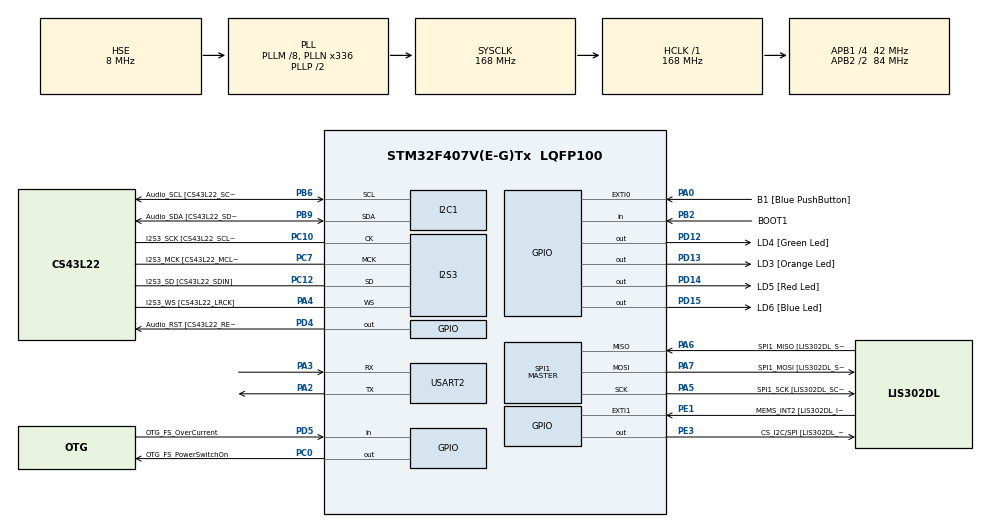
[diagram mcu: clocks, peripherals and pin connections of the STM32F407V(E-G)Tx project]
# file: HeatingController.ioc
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FREERTOS.Mutexes01=controllerStatusMutex,Dynamic,NULL,Available
FREERTOS.Queues01=temperatureQueue,4,uint32_t,0,Dynamic,NULL,NULL
FREERTOS.Tasks01=controlTask,24,128,StartControlTask,Default,NULL,Dynamic,NULL,NULL;sensorTask,24,128,StartSensorTask,Default,NULL,Dynamic,NULL,NULL;statusTask,24,128,StartStatusTask,Default,NULL,Dynamic,NULL,NULL
I2S3.AudioFreq-Half_Duplex_Master=I2S_AUDIOFREQ_96K
I2S3.ErrorAudioFreq=-2.34 %
I2S3.ErrorAudioFreq-Half_Duplex_Master=0.8 %
I2S3.FullDuplexMode=I2S_FULLDUPLEXMODE_DISABLE
I2S3.Instance=SPI$Index
I2S3.RealAudioFreq=93.75 KHz
I2S3.RealAudioFreq-Half_Duplex_Master=96.774 KHz
I2S3.VirtualMode=I2S_MODE_MASTER
Mcu.Family=STM32F4
Mcu.Name=STM32F407V(E-G)Tx
Mcu.Package=LQFP100
NVIC.PriorityGroup=NVIC_PRIORITYGROUP_4
PA0-WKUP.GPIO_Label=B1 [Blue PushButton]
PA0-WKUP.GPIO_ModeDefaultEXTI=GPIO_MODE_EVT_RISING
PA0-WKUP.GPIO_PuPd=GPIO_NOPULL
PA0-WKUP.Signal=GPXTI0
PA10.GPIO_Label=OTG_FS_ID
PA10.GPIO_Mode=GPIO_MODE_AF_PP
PA10.GPIO_PuPd=GPIO_NOPULL
PA10.GPIO_Speed=GPIO_SPEED_FREQ_LOW
PA10.Signal=USB_OTG_FS_ID
PA11.GPIO_Label=OTG_FS_DM
PA11.GPIO_Mode=GPIO_MODE_AF_PP
PA11.GPIO_PuPd=GPIO_NOPULL
PA11.GPIO_Speed=GPIO_SPEED_FREQ_LOW
PA11.Signal=USB_OTG_FS_DM
PA12.GPIO_Label=OTG_FS_DP
PA12.GPIO_Mode=GPIO_MODE_AF_PP
PA12.GPIO_PuPd=GPIO_NOPULL
PA12.GPIO_Speed=GPIO_SPEED_FREQ_LOW
PA12.Signal=USB_OTG_FS_DP
PA13.GPIO_Label=SWDIO
PA13.Mode=Serial_Wire
PA13.Signal=SYS_JTMS-SWDIO
PA14.GPIO_Label=SWCLK
PA14.Mode=Serial_Wire
PA14.Signal=SYS_JTCK-SWCLK
PA2.Mode=Asynchronous
PA2.Signal=USART2_TX
PA3.Mode=Asynchronous
PA3.Signal=USART2_RX
PA4.GPIO_Label=I2S3_WS [CS43L22_LRCK]
PA4.GPIO_Mode=GPIO_MODE_AF_PP
PA4.GPIO_PuPd=GPIO_NOPULL
PA4.GPIO_Speed=GPIO_SPEED_FREQ_LOW
PA4.Mode=Half_Duplex_Master
PA4.Signal=I2S3_WS
PA5.GPIO_Label=SPI1_SCK [LIS302DL_SCL/SPC]
PA5.GPIO_Mode=GPIO_MODE_AF_PP
PA5.GPIO_PuPd=GPIO_NOPULL
PA5.GPIO_Speed=GPIO_SPEED_FREQ_LOW
PA5.Mode=Full_Duplex_Master
PA5.Signal=SPI1_SCK
PA6.GPIO_Label=SPI1_MISO [LIS302DL_SDO]
PA6.GPIO_Mode=GPIO_MODE_AF_PP
PA6.GPIO_PuPd=GPIO_NOPULL
PA6.GPIO_Speed=GPIO_SPEED_FREQ_LOW
PA6.Mode=Full_Duplex_Master
PA6.Signal=SPI1_MISO
PA7.GPIO_Label=SPI1_MOSI [LIS302DL_SDA/SDI/SDO]
PA7.GPIO_Mode=GPIO_MODE_AF_PP
PA7.GPIO_PuPd=GPIO_NOPULL
PA7.GPIO_Speed=GPIO_SPEED_FREQ_LOW
PA7.Mode=Full_Duplex_Master
PA7.Signal=SPI1_MOSI
PA9.GPIO_Label=VBUS_FS
PA9.GPIO_Mode=GPIO_MODE_INPUT
PA9.GPIO_PuPd=GPIO_NOPULL
PA9.Signal=USB_OTG_FS_VBUS
PB10.GPIO_Label=CLK_IN [MP45DT02_CLK]
PB10.GPIO_Mode=GPIO_MODE_AF_PP
PB10.GPIO_PuPd=GPIO_NOPULL
PB10.GPIO_Speed=GPIO_SPEED_FREQ_LOW
PB10.Signal=I2S2_CK
PB2.GPIO_Label=BOOT1
PB2.GPIO_Mode=GPIO_MODE_INPUT
PB2.GPIO_PuPd=GPIO_NOPULL
PB2.Signal=GPIO_Input
PB3.GPIO_Label=SWO
PB3.Signal=SYS_JTDO-SWO
PB6.GPIO_Label=Audio_SCL [CS43L22_SCL]
PB6.GPIO_Mode=GPIO_MODE_AF_OD
PB6.GPIO_Pu=GPIO_PULLUP
PB6.GPIO_PuPd=GPIO_NOPULL
PB6.GPIO_Speed=GPIO_SPEED_FREQ_LOW
PB6.Mode=I2C
PB6.Signal=I2C1_SCL
PB9.GPIO_Label=Audio_SDA [CS43L22_SDA]
PB9.GPIO_Mode=GPIO_MODE_AF_OD
PB9.GPIO_Pu=GPIO_PULLUP
PB9.GPIO_PuPd=GPIO_NOPULL
PB9.GPIO_Speed=GPIO_SPEED_FREQ_LOW
PB9.Mode=I2C
PB9.Signal=I2C1_SDA
PC0.GPIO_Label=OTG_FS_PowerSwitchOn
PC0.GPIO_PuPd=GPIO_NOPULL
PC0.GPIO_Speed=GPIO_SPEED_FREQ_LOW
PC0.PinState=GPIO_PIN_SET
PC0.Signal=GPIO_Output
PC10.GPIO_Label=I2S3_SCK [CS43L22_SCLK]
PC10.GPIO_Mode=GPIO_MODE_AF_PP
PC10.GPIO_PuPd=GPIO_NOPULL
PC10.GPIO_Speed=GPIO_SPEED_FREQ_LOW
PC10.Mode=Half_Duplex_Master
PC10.Signal=I2S3_CK
PC12.GPIO_Label=I2S3_SD [CS43L22_SDIN]
PC12.GPIO_Mode=GPIO_MODE_AF_PP
PC12.GPIO_PuPd=GPIO_NOPULL
PC12.GPIO_Speed=GPIO_SPEED_FREQ_LOW
PC12.Mode=Half_Duplex_Master
PC12.Signal=I2S3_SD
PC14-OSC32_IN.GPIO_Label=PC14-OSC32_IN
PC14-OSC32_IN.Mode=LSE-External-Oscillator
PC14-OSC32_IN.Signal=RCC_OSC32_IN
PC15-OSC32_OUT.GPIO_Label=PC15-OSC32_OUT
PC15-OSC32_OUT.Mode=LSE-External-Oscillator
PC15-OSC32_OUT.Signal=RCC_OSC32_OUT
PC3.GPIO_Label=PDM_OUT [MP45DT02_DOUT]
PC3.GPIO_Mode=GPIO_MODE_AF_PP
PC3.GPIO_PuPd=GPIO_NOPULL
PC3.GPIO_Speed=GPIO_SPEED_FREQ_LOW
PC3.Signal=I2S2_SD
PC7.GPIO_Label=I2S3_MCK [CS43L22_MCLK]
PC7.GPIO_Mode=GPIO_MODE_AF_PP
PC7.GPIO_PuPd=GPIO_NOPULL
PC7.GPIO_Speed=GPIO_SPEED_FREQ_LOW
PC7.Mode=Master_Clock_Activated
PC7.Signal=I2S3_MCK
PD12.GPIO_Label=LD4 [Green Led]
PD12.GPIO_PuPd=GPIO_NOPULL
PD12.GPIO_Speed=GPIO_SPEED_FREQ_LOW
PD12.Signal=GPIO_Output
PD13.GPIO_Label=LD3 [Orange Led]
PD13.GPIO_PuPd=GPIO_NOPULL
PD13.GPIO_Speed=GPIO_SPEED_FREQ_LOW
PD13.Signal=GPIO_Output
PD14.GPIO_Label=LD5 [Red Led]
PD14.GPIO_PuPd=GPIO_NOPULL
PD14.GPIO_Speed=GPIO_SPEED_FREQ_LOW
PD14.Signal=GPIO_Output
PD15.GPIO_Label=LD6 [Blue Led]
PD15.GPIO_PuPd=GPIO_NOPULL
PD15.GPIO_Speed=GPIO_SPEED_FREQ_LOW
PD15.Signal=GPIO_Output
PD4.GPIO_Label=Audio_RST [CS43L22_RESET]
PD4.GPIO_PuPd=GPIO_NOPULL
PD4.GPIO_Speed=GPIO_SPEED_FREQ_LOW
PD4.Signal=GPIO_Output
PD5.GPIO_Label=OTG_FS_OverCurrent
PD5.GPIO_Mode=GPIO_MODE_INPUT
PD5.GPIO_PuPd=GPIO_NOPULL
PD5.Signal=GPIO_Input
PE1.GPIO_Label=MEMS_INT2 [LIS302DL_INT2]
PE1.GPIO_ModeDefaultEXTI=GPIO_MODE_EVT_RISING
PE1.GPIO_PuPd=GPIO_NOPULL
PE1.Signal=GPXTI1
PE3.GPIO_Label=CS_I2C/SPI [LIS302DL_CS_I2C/SPI]
PE3.GPIO_PuPd=GPIO_NOPULL
PE3.GPIO_Speed=GPIO_SPEED_FREQ_LOW
PE3.Signal=GPIO_Output
PH0-OSC_IN.GPIO_Label=PH0-OSC_IN
PH0-OSC_IN.Mode=HSE-External-Oscillator
PH0-OSC_IN.Signal=RCC_OSC_IN
PH1-OSC_OUT.GPIO_Label=PH1-OSC_OUT
PH1-OSC_OUT.Mode=HSE-External-Oscillator
PH1-OSC_OUT.Signal=RCC_OSC_OUT
ProjectManager.HeapSize=0x200
ProjectManager.StackSize=0x400
ProjectManager.TargetToolchain=CMake
RCC.48MHZClocksFreq_Value=48000000
RCC.AHBFreq_Value=168000000
RCC.APB1CLKDivider=RCC_HCLK_DIV4
RCC.APB1Freq_Value=42000000
RCC.APB1TimFreq_Value=84000000
RCC.APB2CLKDivider=RCC_HCLK_DIV2
RCC.APB2Freq_Value=84000000
RCC.APB2TimFreq_Value=168000000
RCC.CortexFreq_Value=168000000
RCC.HCLKFreq_Value=168000000
RCC.HSE_VALUE=8000000
RCC.HSI_VALUE=16000000
RCC.PLLM=8
RCC.PLLN=336
RCC.PLLQ=7
RCC.PLLSourceVirtual=RCC_PLLSOURCE_HSE
RCC.SYSCLKFreq_VALUE=168000000
RCC.SYSCLKSource=RCC_SYSCLKSOURCE_PLLCLK
RCC.VCOOutputFreq_Value=336000000
SPI1.BaudRatePrescaler-Full_Duplex_Master=SPI_BAUDRATEPRESCALER_2
SPI1.CalculateBaudRate-Full_Duplex_Master=42.0 MBits/s
SPI1.Direction=SPI_DIRECTION_2LINES
SPI1.Mode=SPI_MODE_MASTER
SPI1.Mode-Full_Duplex_Master=SPI_MODE_MASTER
SPI1.VirtualType=VM_MASTER
USART2.VirtualMode=VM_ASYNC
VP_FREERTOS_VS_CMSIS_V2.Mode=CMSIS_V2
board=STM32F407G-DISC1

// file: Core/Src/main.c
/* USER CODE BEGIN Header */
/**
  ******************************************************************************
  * @file           : main.c
  * @brief          : Main program body
  ******************************************************************************
  * @attention
  *
  * Copyright (c) 2026 STMicroelectronics.
  * All rights reserved.
  *
  * This software is licensed under terms that can be found in the LICENSE file
  * in the root directory of this software component.
  * If no LICENSE file comes with this software, it is provided AS-IS.
  *
  ******************************************************************************
  */
/* USER CODE END Header */
#include "main.h"

#include "cmsis_os.h"

/* USER CODE BEGIN Includes */
#include <stdio.h>
/* USER CODE END Includes */

I2C_HandleTypeDef hi2c1;

I2S_HandleTypeDef hi2s3;

SPI_HandleTypeDef hspi1;

UART_HandleTypeDef huart2;

/* Definitions for controlTask */
osThreadId_t controlTaskHandle;
const osThreadAttr_t controlTask_attributes = {
  .name = "controlTask",
  .stack_size = 128 * 4,
  .priority = (osPriority_t) osPriorityNormal,
};
/* Definitions for sensorTask */
osThreadId_t sensorTaskHandle;
const osThreadAttr_t sensorTask_attributes = {
  .name = "sensorTask",
  .stack_size = 128 * 4,
  .priority = (osPriority_t) osPriorityNormal,
};
/* Definitions for statusTask */
osThreadId_t statusTaskHandle;
const osThreadAttr_t statusTask_attributes = {
  .name = "statusTask",
  .stack_size = 128 * 4,
  .priority = (osPriority_t) osPriorityNormal,
};
/* Definitions for temperatureQueue */
osMessageQueueId_t temperatureQueueHandle;
const osMessageQueueAttr_t temperatureQueue_attributes = {
  .name = "temperatureQueue"
};
/* Definitions for controllerStatusMutex */
osMutexId_t controllerStatusMutexHandle;
const osMutexAttr_t controllerStatusMutex_attributes = {
  .name = "controllerStatusMutex"
};

void SystemClock_Config(void);
static void MX_GPIO_Init(void);
static void MX_I2C1_Init(void);
static void MX_I2S3_Init(void);
static void MX_SPI1_Init(void);
static void MX_USART2_UART_Init(void);
void StartControlTask(void *argument);
void StartSensorTask(void *argument);
void StartStatusTask(void *argument);

/* USER CODE BEGIN 0 */

enum eHeaterState : uint8_t
{
  ENUM_HEATER_STATE_OFF,
  ENUM_HEATER_STATE_ONE, // one heating component
  ENUM_HEATER_STATE_TWO, // two heating components
  ENUM_HEATER_STATE_THREE // ...
};

enum ePumpState : uint8_t
{
  ENUM_PUMP_STATE_OFF,
  ENUM_PUMP_STATE_ON
};

static struct ControllerStatus
{
  long currentTemperature;
  long targetTemperature;
  enum eHeaterState heaterState;
  enum ePumpState pumpState;
} g_ControllerStatus = {
  .currentTemperature = 0,
  .targetTemperature = 70,
  .heaterState = ENUM_HEATER_STATE_OFF,
  .pumpState = ENUM_PUMP_STATE_OFF
};

/* USER CODE END 0 */

int main(void)
{

  /* MCU Configuration--------------------------------------------------------*/

  /* Reset of all peripherals, Initializes the Flash interface and the Systick. */
  HAL_Init();

  /* Configure the system clock */
  SystemClock_Config();

  /* Initialize all configured peripherals */
  MX_GPIO_Init();
  MX_I2C1_Init();
  MX_I2S3_Init();
  MX_SPI1_Init();
  MX_USART2_UART_Init();

  /* Init scheduler */
  osKernelInitialize();
  /* Create the mutex(es) */
  /* creation of controllerStatusMutex */
  controllerStatusMutexHandle = osMutexNew(&controllerStatusMutex_attributes);

  /* Create the queue(s) */
  /* creation of temperatureQueue */
  temperatureQueueHandle = osMessageQueueNew (4, sizeof(uint32_t), &temperatureQueue_attributes);

  /* Create the thread(s) */
  /* creation of controlTask */
  controlTaskHandle = osThreadNew(StartControlTask, NULL, &controlTask_attributes);

  /* creation of sensorTask */
  sensorTaskHandle = osThreadNew(StartSensorTask, NULL, &sensorTask_attributes);

  /* creation of statusTask */
  statusTaskHandle = osThreadNew(StartStatusTask, NULL, &statusTask_attributes);

  /* Start scheduler */
  osKernelStart();

  /* We should never get here as control is now taken by the scheduler */

  /* Infinite loop */
  while (1)
  {

  }
}

void SystemClock_Config(void)
{
  RCC_OscInitTypeDef RCC_OscInitStruct = {0};
  RCC_ClkInitTypeDef RCC_ClkInitStruct = {0};

  /** Configure the main internal regulator output voltage
  */
  __HAL_RCC_PWR_CLK_ENABLE();
  __HAL_PWR_VOLTAGESCALING_CONFIG(PWR_REGULATOR_VOLTAGE_SCALE1);

  /** Initializes the RCC Oscillators according to the specified parameters
  * in the RCC_OscInitTypeDef structure.
  */
  RCC_OscInitStruct.OscillatorType = RCC_OSCILLATORTYPE_HSE;
  RCC_OscInitStruct.HSEState = RCC_HSE_ON;
  RCC_OscInitStruct.PLL.PLLState = RCC_PLL_ON;
  RCC_OscInitStruct.PLL.PLLSource = RCC_PLLSOURCE_HSE;
  RCC_OscInitStruct.PLL.PLLM = 8;
  RCC_OscInitStruct.PLL.PLLN = 336;
  RCC_OscInitStruct.PLL.PLLP = RCC_PLLP_DIV2;
  RCC_OscInitStruct.PLL.PLLQ = 7;
  if (HAL_RCC_OscConfig(&RCC_OscInitStruct) != HAL_OK)
  {
    Error_Handler();
  }

  /** Initializes the CPU, AHB and APB buses clocks
  */
  RCC_ClkInitStruct.ClockType = RCC_CLOCKTYPE_HCLK|RCC_CLOCKTYPE_SYSCLK
                              |RCC_CLOCKTYPE_PCLK1|RCC_CLOCKTYPE_PCLK2;
  RCC_ClkInitStruct.SYSCLKSource = RCC_SYSCLKSOURCE_PLLCLK;
  RCC_ClkInitStruct.AHBCLKDivider = RCC_SYSCLK_DIV1;
  RCC_ClkInitStruct.APB1CLKDivider = RCC_HCLK_DIV4;
  RCC_ClkInitStruct.APB2CLKDivider = RCC_HCLK_DIV2;

  if (HAL_RCC_ClockConfig(&RCC_ClkInitStruct, FLASH_LATENCY_5) != HAL_OK)
  {
    Error_Handler();
  }
}

static void MX_I2C1_Init(void)
{

  hi2c1.Instance = I2C1;
  hi2c1.Init.ClockSpeed = 100000;
  hi2c1.Init.DutyCycle = I2C_DUTYCYCLE_2;
  hi2c1.Init.OwnAddress1 = 0;
  hi2c1.Init.AddressingMode = I2C_ADDRESSINGMODE_7BIT;
  hi2c1.Init.DualAddressMode = I2C_DUALADDRESS_DISABLE;
  hi2c1.Init.OwnAddress2 = 0;
  hi2c1.Init.GeneralCallMode = I2C_GENERALCALL_DISABLE;
  hi2c1.Init.NoStretchMode = I2C_NOSTRETCH_DISABLE;
  if (HAL_I2C_Init(&hi2c1) != HAL_OK)
  {
    Error_Handler();
  }

}

static void MX_I2S3_Init(void)
{

  hi2s3.Instance = SPI3;
  hi2s3.Init.Mode = I2S_MODE_MASTER_TX;
  hi2s3.Init.Standard = I2S_STANDARD_PHILIPS;
  hi2s3.Init.DataFormat = I2S_DATAFORMAT_16B;
  hi2s3.Init.MCLKOutput = I2S_MCLKOUTPUT_ENABLE;
  hi2s3.Init.AudioFreq = I2S_AUDIOFREQ_96K;
  hi2s3.Init.CPOL = I2S_CPOL_LOW;
  hi2s3.Init.ClockSource = I2S_CLOCK_PLL;
  hi2s3.Init.FullDuplexMode = I2S_FULLDUPLEXMODE_DISABLE;
  if (HAL_I2S_Init(&hi2s3) != HAL_OK)
  {
    Error_Handler();
  }

}

static void MX_SPI1_Init(void)
{

  /* SPI1 parameter configuration*/
  hspi1.Instance = SPI1;
  hspi1.Init.Mode = SPI_MODE_MASTER;
  hspi1.Init.Direction = SPI_DIRECTION_2LINES;
  hspi1.Init.DataSize = SPI_DATASIZE_8BIT;
  hspi1.Init.CLKPolarity = SPI_POLARITY_LOW;
  hspi1.Init.CLKPhase = SPI_PHASE_1EDGE;
  hspi1.Init.NSS = SPI_NSS_SOFT;
  hspi1.Init.BaudRatePrescaler = SPI_BAUDRATEPRESCALER_2;
  hspi1.Init.FirstBit = SPI_FIRSTBIT_MSB;
  hspi1.Init.TIMode = SPI_TIMODE_DISABLE;
  hspi1.Init.CRCCalculation = SPI_CRCCALCULATION_DISABLE;
  hspi1.Init.CRCPolynomial = 10;
  if (HAL_SPI_Init(&hspi1) != HAL_OK)
  {
    Error_Handler();
  }

}

static void MX_USART2_UART_Init(void)
{

  huart2.Instance = USART2;
  huart2.Init.BaudRate = 115200;
  huart2.Init.WordLength = UART_WORDLENGTH_8B;
  huart2.Init.StopBits = UART_STOPBITS_1;
  huart2.Init.Parity = UART_PARITY_NONE;
  huart2.Init.Mode = UART_MODE_TX_RX;
  huart2.Init.HwFlowCtl = UART_HWCONTROL_NONE;
  huart2.Init.OverSampling = UART_OVERSAMPLING_16;
  if (HAL_UART_Init(&huart2) != HAL_OK)
  {
    Error_Handler();
  }

}

static void MX_GPIO_Init(void)
{
  GPIO_InitTypeDef GPIO_InitStruct = {0};

  /* GPIO Ports Clock Enable */
  __HAL_RCC_GPIOE_CLK_ENABLE();
  __HAL_RCC_GPIOC_CLK_ENABLE();
  __HAL_RCC_GPIOH_CLK_ENABLE();
  __HAL_RCC_GPIOA_CLK_ENABLE();
  __HAL_RCC_GPIOB_CLK_ENABLE();
  __HAL_RCC_GPIOD_CLK_ENABLE();

  /*Configure GPIO pin Output Level */
  HAL_GPIO_WritePin(CS_I2C_SPI_GPIO_Port, CS_I2C_SPI_Pin, GPIO_PIN_RESET);

  /*Configure GPIO pin Output Level */
  HAL_GPIO_WritePin(OTG_FS_PowerSwitchOn_GPIO_Port, OTG_FS_PowerSwitchOn_Pin, GPIO_PIN_SET);

  /*Configure GPIO pin Output Level */
  HAL_GPIO_WritePin(GPIOD, LD4_Pin|LD3_Pin|LD5_Pin|LD6_Pin
                          |Audio_RST_Pin, GPIO_PIN_RESET);

  /*Configure GPIO pin : CS_I2C_SPI_Pin */
  GPIO_InitStruct.Pin = CS_I2C_SPI_Pin;
  GPIO_InitStruct.Mode = GPIO_MODE_OUTPUT_PP;
  GPIO_InitStruct.Pull = GPIO_NOPULL;
  GPIO_InitStruct.Speed = GPIO_SPEED_FREQ_LOW;
  HAL_GPIO_Init(CS_I2C_SPI_GPIO_Port, &GPIO_InitStruct);

  /*Configure GPIO pin : OTG_FS_PowerSwitchOn_Pin */
  GPIO_InitStruct.Pin = OTG_FS_PowerSwitchOn_Pin;
  GPIO_InitStruct.Mode = GPIO_MODE_OUTPUT_PP;
  GPIO_InitStruct.Pull = GPIO_NOPULL;
  GPIO_InitStruct.Speed = GPIO_SPEED_FREQ_LOW;
  HAL_GPIO_Init(OTG_FS_PowerSwitchOn_GPIO_Port, &GPIO_InitStruct);

  /*Configure GPIO pin : PDM_OUT_Pin */
  GPIO_InitStruct.Pin = PDM_OUT_Pin;
  GPIO_InitStruct.Mode = GPIO_MODE_AF_PP;
  GPIO_InitStruct.Pull = GPIO_NOPULL;
  GPIO_InitStruct.Speed = GPIO_SPEED_FREQ_LOW;
  GPIO_InitStruct.Alternate = GPIO_AF5_SPI2;
  HAL_GPIO_Init(PDM_OUT_GPIO_Port, &GPIO_InitStruct);

  /*Configure GPIO pin : B1_Pin */
  GPIO_InitStruct.Pin = B1_Pin;
  GPIO_InitStruct.Mode = GPIO_MODE_EVT_RISING;
  GPIO_InitStruct.Pull = GPIO_NOPULL;
  HAL_GPIO_Init(B1_GPIO_Port, &GPIO_InitStruct);

  /*Configure GPIO pin : BOOT1_Pin */
  GPIO_InitStruct.Pin = BOOT1_Pin;
  GPIO_InitStruct.Mode = GPIO_MODE_INPUT;
  GPIO_InitStruct.Pull = GPIO_NOPULL;
  HAL_GPIO_Init(BOOT1_GPIO_Port, &GPIO_InitStruct);

  /*Configure GPIO pin : CLK_IN_Pin */
  GPIO_InitStruct.Pin = CLK_IN_Pin;
  GPIO_InitStruct.Mode = GPIO_MODE_AF_PP;
  GPIO_InitStruct.Pull = GPIO_NOPULL;
  GPIO_InitStruct.Speed = GPIO_SPEED_FREQ_LOW;
  GPIO_InitStruct.Alternate = GPIO_AF5_SPI2;
  HAL_GPIO_Init(CLK_IN_GPIO_Port, &GPIO_InitStruct);

  /*Configure GPIO pins : LD4_Pin LD3_Pin LD5_Pin LD6_Pin
                           Audio_RST_Pin */
  GPIO_InitStruct.Pin = LD4_Pin|LD3_Pin|LD5_Pin|LD6_Pin
                          |Audio_RST_Pin;
  GPIO_InitStruct.Mode = GPIO_MODE_OUTPUT_PP;
  GPIO_InitStruct.Pull = GPIO_NOPULL;
  GPIO_InitStruct.Speed = GPIO_SPEED_FREQ_LOW;
  HAL_GPIO_Init(GPIOD, &GPIO_InitStruct);

  /*Configure GPIO pin : VBUS_FS_Pin */
  GPIO_InitStruct.Pin = VBUS_FS_Pin;
  GPIO_InitStruct.Mode = GPIO_MODE_INPUT;
  GPIO_InitStruct.Pull = GPIO_NOPULL;
  HAL_GPIO_Init(VBUS_FS_GPIO_Port, &GPIO_InitStruct);

  /*Configure GPIO pins : OTG_FS_ID_Pin OTG_FS_DM_Pin OTG_FS_DP_Pin */
  GPIO_InitStruct.Pin = OTG_FS_ID_Pin|OTG_FS_DM_Pin|OTG_FS_DP_Pin;
  GPIO_InitStruct.Mode = GPIO_MODE_AF_PP;
  GPIO_InitStruct.Pull = GPIO_NOPULL;
  GPIO_InitStruct.Speed = GPIO_SPEED_FREQ_LOW;
  GPIO_InitStruct.Alternate = GPIO_AF10_OTG_FS;
  HAL_GPIO_Init(GPIOA, &GPIO_InitStruct);

  /*Configure GPIO pin : OTG_FS_OverCurrent_Pin */
  GPIO_InitStruct.Pin = OTG_FS_OverCurrent_Pin;
  GPIO_InitStruct.Mode = GPIO_MODE_INPUT;
  GPIO_InitStruct.Pull = GPIO_NOPULL;
  HAL_GPIO_Init(OTG_FS_OverCurrent_GPIO_Port, &GPIO_InitStruct);

  /*Configure GPIO pin : MEMS_INT2_Pin */
  GPIO_InitStruct.Pin = MEMS_INT2_Pin;
  GPIO_InitStruct.Mode = GPIO_MODE_EVT_RISING;
  GPIO_InitStruct.Pull = GPIO_NOPULL;
  HAL_GPIO_Init(MEMS_INT2_GPIO_Port, &GPIO_InitStruct);

}

void StartControlTask(void *argument)
{
  /* USER CODE BEGIN 5 */
  /* Infinite loop */

  long currentTemperature = 0;
  for (;;)
  {
    osMessageQueueGet(temperatureQueueHandle, &currentTemperature, 0, osWaitForever);

    osMutexAcquire(controllerStatusMutexHandle, osWaitForever);

    g_ControllerStatus.currentTemperature = currentTemperature;

    long diff = g_ControllerStatus.targetTemperature - g_ControllerStatus.currentTemperature;

    if (diff <= 0)
    {
      g_ControllerStatus.heaterState = ENUM_HEATER_STATE_OFF;
      HAL_GPIO_WritePin(LD3_GPIO_Port, LD3_Pin, GPIO_PIN_RESET);
      HAL_GPIO_WritePin(LD4_GPIO_Port, LD4_Pin, GPIO_PIN_RESET);
      HAL_GPIO_WritePin(LD5_GPIO_Port, LD5_Pin, GPIO_PIN_RESET);
    }
    else if (diff <= 5)
    {
      g_ControllerStatus.heaterState = ENUM_HEATER_STATE_ONE;
      HAL_GPIO_WritePin(LD3_GPIO_Port, LD3_Pin, GPIO_PIN_SET);
      HAL_GPIO_WritePin(LD4_GPIO_Port, LD4_Pin, GPIO_PIN_RESET);
      HAL_GPIO_WritePin(LD5_GPIO_Port, LD5_Pin, GPIO_PIN_RESET);
    }
    else if (diff <= 20)
    {
      g_ControllerStatus.heaterState = ENUM_HEATER_STATE_TWO;
      HAL_GPIO_WritePin(LD3_GPIO_Port, LD3_Pin, GPIO_PIN_SET);
      HAL_GPIO_WritePin(LD4_GPIO_Port, LD4_Pin, GPIO_PIN_SET);
      HAL_GPIO_WritePin(LD5_GPIO_Port, LD5_Pin, GPIO_PIN_RESET);
    }
    else
    {
      g_ControllerStatus.heaterState = ENUM_HEATER_STATE_THREE;
      HAL_GPIO_WritePin(LD3_GPIO_Port, LD3_Pin, GPIO_PIN_SET);
      HAL_GPIO_WritePin(LD4_GPIO_Port, LD4_Pin, GPIO_PIN_SET);
      HAL_GPIO_WritePin(LD5_GPIO_Port, LD5_Pin, GPIO_PIN_SET);
    }

    if (g_ControllerStatus.heaterState > 0)
    {
      g_ControllerStatus.pumpState = ENUM_PUMP_STATE_ON;
      HAL_GPIO_WritePin(LD6_GPIO_Port, LD6_Pin, GPIO_PIN_SET);
    }
    else
    {
      g_ControllerStatus.pumpState = ENUM_PUMP_STATE_OFF;
      HAL_GPIO_WritePin(LD6_GPIO_Port, LD6_Pin, GPIO_PIN_RESET);
    }

    osMutexRelease(controllerStatusMutexHandle);
  }
  /* USER CODE END 5 */
}

void StartSensorTask(void *argument)
{
  /* USER CODE BEGIN StartSensorTask */
  /* Infinite loop */
  long temperature = 20;
  for(;;)
  {
    osMessageQueuePut(temperatureQueueHandle, &temperature, 0, 0);

    temperature += 5;

    if (temperature > 90)
      temperature = 20;

    osDelay(3000);
  }
  /* USER CODE END StartSensorTask */
}

void StartStatusTask(void *argument)
{
  /* USER CODE BEGIN StartStatusTask */
  char buffer[128];
  for (;;)
  {
    osMutexAcquire(controllerStatusMutexHandle, osWaitForever);
    struct ControllerStatus controllerStatus = g_ControllerStatus;
    osMutexRelease(controllerStatusMutexHandle);
    int len = snprintf(
        buffer,
        sizeof(buffer),
        "Temp: %ld, Target: %ld, HeaterState: %u, Pump: %s\r\n",
        controllerStatus.currentTemperature,
        controllerStatus.targetTemperature,
        controllerStatus.heaterState,
        controllerStatus.pumpState == ENUM_PUMP_STATE_ON ? "ON" : "OFF"
    );

    HAL_UART_Transmit(&huart2, (uint8_t*)buffer, len, HAL_MAX_DELAY);

    osDelay(1000);
  }
  /* USER CODE END StartStatusTask */
}

void Error_Handler(void)
{
  __disable_irq();
  while (1)
  {
  }
}
